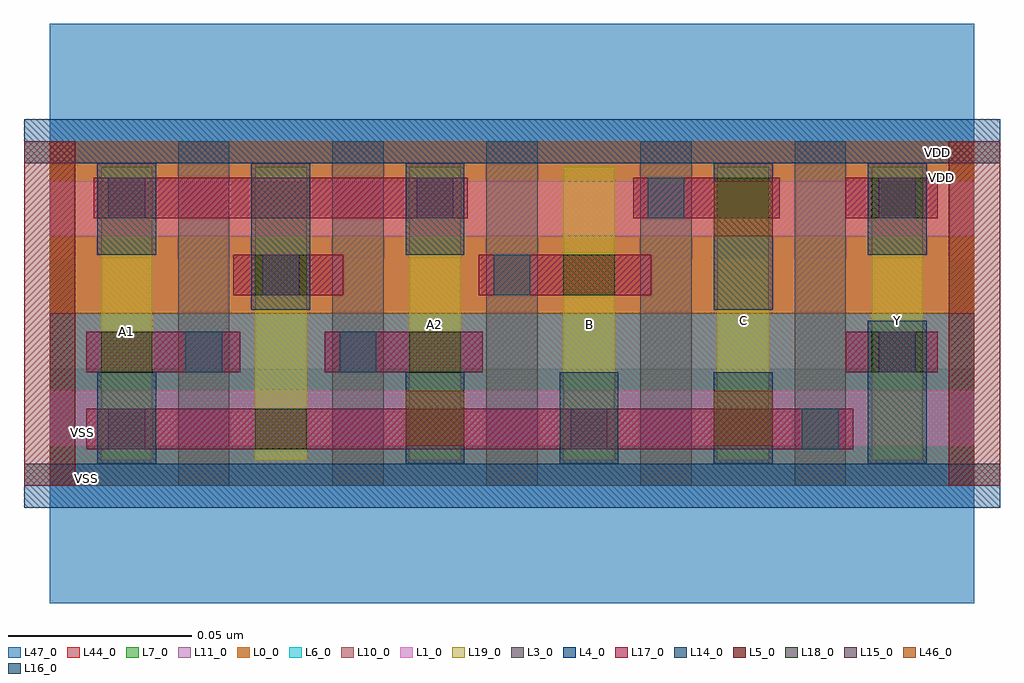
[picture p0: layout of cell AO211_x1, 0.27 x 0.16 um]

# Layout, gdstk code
import gdstk
lib = gdstk.Library(unit=1e-6, precision=5e-10)
def R(c, l, rs):  # rectangles x0, y0, x1, y1
    for r in rs: c.add(gdstk.rectangle(r[:2], r[2:], *l))
def A(c, l, x, y, w, h, nx, ny, dx, dy):  # array of equal rectangles
    R(c, l, [(x+i*dx, y+j*dy, x+i*dx+w, y+j*dy+h) for i in range(nx) for j in range(ny)])
L0_0 = (0, 0)
L1_0 = (1, 0)
L3_0 = (3, 0)
L4_0 = (4, 0)
L5_0 = (5, 0)
L6_0 = (6, 0)
L7_0 = (7, 0)
L10_0 = (10, 0)
L11_0 = (11, 0)
L14_0 = (14, 0)
L15_0 = (15, 0)
L16_0 = (16, 0)
L17_0 = (17, 0)
L18_0 = (18, 0)
L19_0 = (19, 0)
L44_0 = (44, 0)
L46_0 = (46, 0)
L47_0 = (47, 0)

ao211_x1 = lib.new_cell('AO211_x1')
R(ao211_x1, L0_0, [(0,0.047,0.252,0.094)])
R(ao211_x1, L1_0, [(0,0.011,0.252,0.026), (0,0.068,0.252,0.083)])
A(ao211_x1, L3_0, 0.035, 0, 0.014, 0.094, 5, 1, 0.042, 0)
R(ao211_x1, L4_0, [(-0.007,-0.006,0.259,0.006), (-0.007,0.088,0.259,0.1)])
R(ao211_x1, L5_0, [(-0.007,0,0.007,0.094), (0.245,0,0.259,0.094)])
R(ao211_x1, L6_0, [(0,0,0.252,0.047)])
R(ao211_x1, L7_0, [(0,0.047,0.252,0.094)])
R(ao211_x1, L10_0, [(0,0,0.252,0.047)])
R(ao211_x1, L11_0, [(0,0.047,0.252,0.094)])
A(ao211_x1, L14_0, 0.097, 0.006, 0.016, 0.025, 3, 1, 0.042, 0)
R(ao211_x1, L14_0, [(0.013,0.006,0.029,0.031), (0.223,0.006,0.239,0.045), (0.055,0.048,0.071,0.088), (0.181,0.048,0.197,0.088), (0.013,0.063,0.029,0.088), (0.097,0.063,0.113,0.088), (0.223,0.063,0.239,0.088)])
R(ao211_x1, L15_0, [(0.016,0.01,0.026,0.021), (0.142,0.01,0.152,0.021), (0.226,0.031,0.236,0.042), (0.058,0.052,0.068,0.063), (0.016,0.073,0.026,0.084), (0.1,0.073,0.11,0.084), (0.226,0.073,0.236,0.084)])
R(ao211_x1, L16_0, [(0.205,0.01,0.215,0.021), (0.037,0.031,0.047,0.042), (0.079,0.031,0.089,0.042), (0.121,0.052,0.131,0.063), (0.163,0.073,0.173,0.084)])
R(ao211_x1, L17_0, [(0.01,0.01,0.219,0.021), (0.01,0.031,0.052,0.042), (0.075,0.031,0.118,0.042), (0.217,0.031,0.242,0.042), (0.05,0.052,0.08,0.063), (0.117,0.052,0.164,0.063), (0.012,0.073,0.114,0.084), (0.159,0.073,0.199,0.084), (0.217,0.073,0.242,0.084)])
R(ao211_x1, L18_0, [(0.056,0.01,0.07,0.021), (0.014,0.031,0.028,0.042), (0.098,0.031,0.112,0.042), (0.224,0.031,0.238,0.042), (0.056,0.052,0.07,0.063), (0.14,0.052,0.154,0.063), (0.182,0.073,0.196,0.084), (0.224,0.073,0.238,0.084)])
A(ao211_x1, L19_0, 0.014, 0.007, 0.014, 0.08, 6, 1, 0.042, 0)
R(ao211_x1, L44_0, [(0,0,0.252,0.094)])
R(ao211_x1, L46_0, [(0.097,0.011,0.113,0.026), (0.181,0.011,0.197,0.026), (0.181,0.068,0.197,0.083)])
R(ao211_x1, L47_0, [(0,-0.032,0.252,0.032), (0,0.062,0.252,0.126)])
ao211_x1.add(gdstk.Label('VDD', (0.242,0.091), layer=0, texttype=2))
ao211_x1.add(gdstk.Label('A1', (0.021,0.042), layer=19, texttype=2))
ao211_x1.add(gdstk.Label('A2', (0.105,0.044), layer=19, texttype=2))
ao211_x1.add(gdstk.Label('B', (0.147,0.044), layer=19, texttype=2))
ao211_x1.add(gdstk.Label('Y', (0.231,0.045), layer=19, texttype=2))
ao211_x1.add(gdstk.Label('C', (0.189,0.045), layer=19, texttype=2))
ao211_x1.add(gdstk.Label('VDD', (0.243,0.084), layer=47, texttype=2))
ao211_x1.add(gdstk.Label('VSS', (0.009,0.0145), layer=47, texttype=2))
ao211_x1.add(gdstk.Label('VSS', (0.01,0.002), layer=54, texttype=2))

lib.write_gds('AO211_x1.gds')
